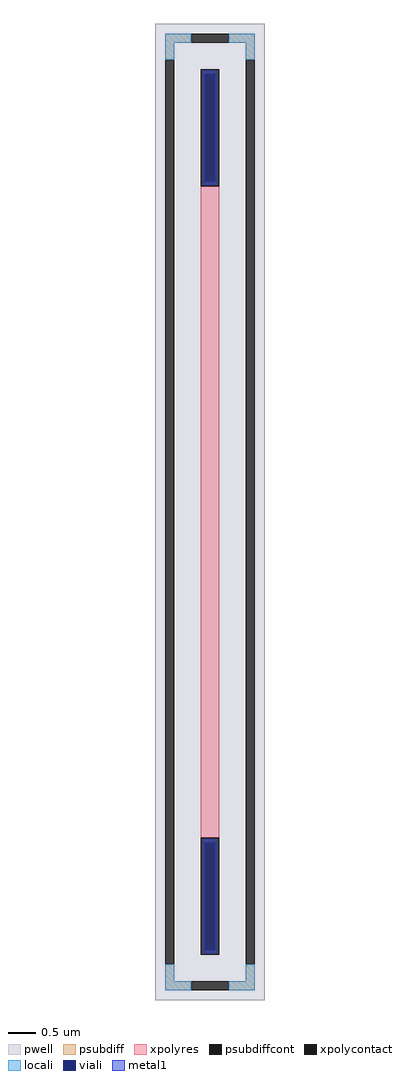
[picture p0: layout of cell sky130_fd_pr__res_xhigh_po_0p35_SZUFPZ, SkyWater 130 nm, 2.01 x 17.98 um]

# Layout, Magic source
magic
tech sky130A
magscale 1 2
<< pwell >>
rect -201 -1798 201 1798
<< psubdiff >>
rect -165 1728 -69 1762
rect 69 1728 165 1762
rect -165 1666 -131 1728
rect 131 1666 165 1728
rect -165 -1728 -131 -1666
rect 131 -1728 165 -1666
rect -165 -1762 -69 -1728
rect 69 -1762 165 -1728
<< psubdiffcont >>
rect -69 1728 69 1762
rect -165 -1666 -131 1666
rect 131 -1666 165 1666
rect -69 -1762 69 -1728
<< xpolycontact >>
rect -35 1200 35 1632
rect -35 -1632 35 -1200
<< xpolyres >>
rect -35 -1200 35 1200
<< locali >>
rect -165 1728 -69 1762
rect 69 1728 165 1762
rect -165 1666 -131 1728
rect 131 1666 165 1728
rect -165 -1728 -131 -1666
rect 131 -1728 165 -1666
rect -165 -1762 -69 -1728
rect 69 -1762 165 -1728
<< viali >>
rect -19 1217 19 1614
rect -19 -1614 19 -1217
<< metal1 >>
rect -25 1614 25 1626
rect -25 1217 -19 1614
rect 19 1217 25 1614
rect -25 1205 25 1217
rect -25 -1217 25 -1205
rect -25 -1614 -19 -1217
rect 19 -1614 25 -1217
rect -25 -1626 25 -1614
<< properties >>
string FIXED_BBOX -148 -1745 148 1745
string gencell sky130_fd_pr__res_xhigh_po_0p35
string library sky130
string parameters w 0.350 l 12.0 m 1 nx 1 wmin 0.350 lmin 0.50 rho 2000 val 69.646k dummy 0 dw 0.0 term 188.2 sterm 0.0 caplen 0 wmax 0.350 guard 1 glc 1 grc 1 gtc 1 gbc 1 compatible {sky130_fd_pr__res_xhigh_po_0p35  sky130_fd_pr__res_xhigh_po_0p69 sky130_fd_pr__res_xhigh_po_1p41  sky130_fd_pr__res_xhigh_po_2p85 sky130_fd_pr__res_xhigh_po_5p73} snake 0 full_metal 1 n_guard 0 hv_guard 0 vias 1 viagb 0 viagt 0 viagl 0 viagr 0
<< end >>
